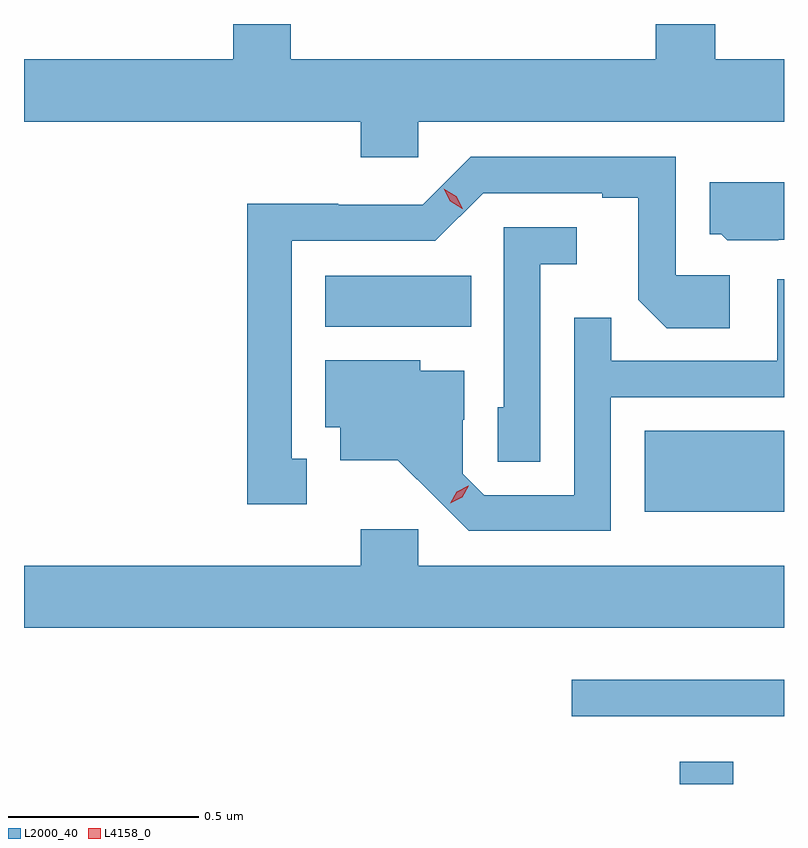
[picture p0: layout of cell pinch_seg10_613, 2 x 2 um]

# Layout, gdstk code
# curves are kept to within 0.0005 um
import gdstk
lib = gdstk.Library(unit=1e-6, precision=1e-09)
def R(c, l, rs):  # rectangles x0, y0, x1, y1
    for r in rs: c.add(gdstk.rectangle(r[:2], r[2:], *l))
def P(c, l, *ps):  # polygons
    for p in ps: c.add(gdstk.Polygon(p, *l))
L2000_40 = (2000, 40)
L4158_0 = (4158, 0)

pinch_seg10_613 = lib.new_cell('pinch_seg10_613')
R(pinch_seg10_613, L2000_40, [(323.675,1281.257,323.815,1281.316), (323.391,1281.435,323.949,1281.532), (323.582,1281.974,323.949,1282.186), (322.742,1282.46,323.126,1282.594)])
P(pinch_seg10_613, L2000_40, [(322.986,1283),(323.949,1283),(323.949,1283.164),(323.768,1283.164),(323.768,1283.257),(323.611,1283.257),(323.611,1283.164),(322.651,1283.164),(322.651,1283.257),(322.499,1283.257),(322.499,1283.164),(321.949,1283.164),(321.949,1283),(322.835,1283),(322.835,1282.907),(322.986,1282.907)],
  [(322.693,1282.113),(322.654,1282.113),(322.654,1282.686),(323.031,1282.686),(323.157,1282.812),(323.471,1282.812),(323.471,1282.8),(323.565,1282.8),(323.565,1282.532),(323.641,1282.456),(323.806,1282.456),(323.806,1282.596),(323.664,1282.596),(323.664,1282.908),(323.124,1282.908),(322.998,1282.782),(322.776,1282.782),(322.776,1282.784),(322.536,1282.784),(322.536,1281.993),(322.693,1281.993)],
  [(323.934,1282.689),(323.949,1282.689),(323.949,1282.84),(323.753,1282.84),(323.753,1282.704),(323.784,1282.704),(323.8,1282.688),(323.934,1282.688)],
  [(323.307,1282.625),(323.404,1282.625),(323.404,1282.722),(323.211,1282.722),(323.211,1282.248),(323.196,1282.248),(323.196,1282.105),(323.307,1282.105)],
  [(323.493,1282.275),(323.949,1282.275),(323.949,1282.585),(323.931,1282.585),(323.931,1282.371),(323.495,1282.371),(323.495,1282.484),(323.397,1282.484),(323.397,1282.017),(323.16,1282.017),(323.103,1282.074),(323.103,1282.216),(323.107,1282.216),(323.107,1282.345),(322.992,1282.345),(322.992,1282.372),(322.742,1282.372),(322.742,1282.196),(322.781,1282.196),(322.781,1282.109),(322.933,1282.109),(323.12,1281.924),(323.493,1281.924)],
  [(323.949,1281.832),(322.986,1281.832),(322.986,1281.928),(322.835,1281.928),(322.835,1281.832),(321.949,1281.832),(321.949,1281.668),(323.949,1281.668)])
P(pinch_seg10_613, L4158_0, [(323.071,1281.996),(323.071,1281.996),(323.088,1282.026),(323.118,1282.042),(323.119,1282.042),(323.119,1282.042),(323.102,1282.012),(323.071,1281.996)],
  [(323.102,1282.771),(323.071,1282.79),(323.054,1282.823),(323.054,1282.824),(323.054,1282.824),(323.086,1282.804),(323.103,1282.771),(323.103,1282.771)])

lib.write_gds('pinch_seg10_613.gds')
